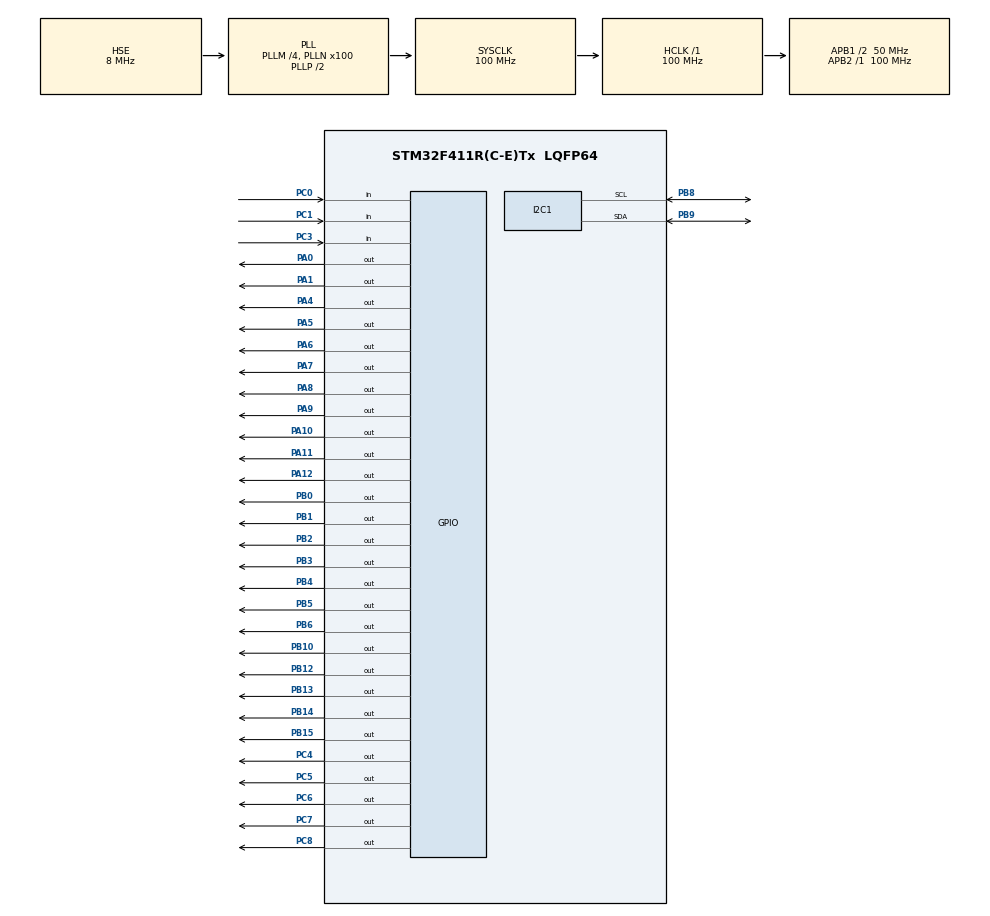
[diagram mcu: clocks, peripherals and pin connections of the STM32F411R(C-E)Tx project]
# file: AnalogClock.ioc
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Mcu.Family=STM32F4
Mcu.Name=STM32F411R(C-E)Tx
Mcu.Package=LQFP64
NVIC.PriorityGroup=NVIC_PRIORITYGROUP_4
NVIC.TIM1_BRK_TIM9_IRQn=true\:0\:0\:false\:false\:true\:true\:true\:true
NVIC.TIM3_IRQn=true\:0\:0\:false\:false\:true\:true\:true\:true
NVIC.TIM4_IRQn=true\:0\:0\:false\:false\:true\:true\:true\:true
PA0-WKUP.Signal=GPIO_Output
PA1.Signal=GPIO_Output
PA10.Signal=GPIO_Output
PA11.Signal=GPIO_Output
PA12.Signal=GPIO_Output
PA13.Mode=Serial_Wire
PA13.Signal=SYS_JTMS-SWDIO
PA14.Mode=Serial_Wire
PA14.Signal=SYS_JTCK-SWCLK
PA4.Signal=GPIO_Output
PA5.Signal=GPIO_Output
PA6.Signal=GPIO_Output
PA7.Signal=GPIO_Output
PA8.Signal=GPIO_Output
PA9.Signal=GPIO_Output
PB0.Signal=GPIO_Output
PB1.Signal=GPIO_Output
PB10.Signal=GPIO_Output
PB12.Signal=GPIO_Output
PB13.Signal=GPIO_Output
PB14.Signal=GPIO_Output
PB15.Signal=GPIO_Output
PB2.Signal=GPIO_Output
PB3.Signal=GPIO_Output
PB4.Signal=GPIO_Output
PB5.Signal=GPIO_Output
PB6.Signal=GPIO_Output
PB8.Mode=I2C
PB8.Signal=I2C1_SCL
PB9.Mode=I2C
PB9.Signal=I2C1_SDA
PC0.Signal=GPIO_Input
PC1.Signal=GPIO_Input
PC3.Signal=GPIO_Input
PC4.Signal=GPIO_Output
PC5.Signal=GPIO_Output
PC6.Signal=GPIO_Output
PC7.Signal=GPIO_Output
PC8.Signal=GPIO_Output
PH0\ -\ OSC_IN.Mode=HSE-External-Oscillator
PH0\ -\ OSC_IN.Signal=RCC_OSC_IN
PH1\ -\ OSC_OUT.Mode=HSE-External-Oscillator
PH1\ -\ OSC_OUT.Signal=RCC_OSC_OUT
ProjectManager.HeapSize=0x200
ProjectManager.StackSize=0x400
ProjectManager.TargetToolchain=STM32CubeIDE
RCC.48MHZClocksFreq_Value=50000000
RCC.AHBFreq_Value=100000000
RCC.APB1CLKDivider=RCC_HCLK_DIV2
RCC.APB1Freq_Value=50000000
RCC.APB1TimFreq_Value=100000000
RCC.APB2Freq_Value=100000000
RCC.APB2TimFreq_Value=100000000
RCC.CortexFreq_Value=100000000
RCC.HCLKFreq_Value=100000000
RCC.HSE_VALUE=8000000
RCC.HSI_VALUE=16000000
RCC.LSE_VALUE=32768
RCC.PLLM=4
RCC.PLLN=100
RCC.PLLSourceVirtual=RCC_PLLSOURCE_HSE
RCC.SYSCLKFreq_VALUE=100000000
RCC.SYSCLKSource=RCC_SYSCLKSOURCE_PLLCLK
RCC.VCOOutputFreq_Value=200000000
TIM4.Period=1000 - 1
TIM4.Prescaler=1000 - 1
TIM9.AutoReloadPreload=TIM_AUTORELOAD_PRELOAD_ENABLE
TIM9.Period=1000-1
TIM9.Prescaler=100-1
VP_TIM3_VS_ClockSourceINT.Mode=Internal
VP_TIM4_VS_ClockSourceINT.Mode=Internal
VP_TIM9_VS_ClockSourceINT.Mode=Internal
board=custom

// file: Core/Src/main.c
/* USER CODE BEGIN Header */
/**
 ******************************************************************************
 * @file           : main.c
 * @brief          : Main program body
 ******************************************************************************
 * @attention
 *
 * Copyright (c) 2026 STMicroelectronics.
 * All rights reserved.
 *
 * This software is licensed under terms that can be found in the LICENSE file
 * in the root directory of this software component.
 * If no LICENSE file comes with this software, it is provided AS-IS.
 *
 ******************************************************************************
 */
/* USER CODE END Header */
#include "main.h"

/* USER CODE BEGIN Includes */
#include "ap/ap_main.h"
#include "ap/ClockNeedle/ClockNeedle.h"
#include "ap/Display/Display.h"
#include "ap/StopWatch/StopWatch.h"
#include "ap/TimeClock/TimeClock.h"
#include "driver/stepMotor/stepMotor.h"
/* USER CODE END Includes */

I2C_HandleTypeDef hi2c1;

TIM_HandleTypeDef htim3;
TIM_HandleTypeDef htim4;
TIM_HandleTypeDef htim9;

void SystemClock_Config(void);
static void MX_GPIO_Init(void);
static void MX_TIM9_Init(void);
static void MX_TIM3_Init(void);
static void MX_TIM4_Init(void);
static void MX_I2C1_Init(void);

/* USER CODE BEGIN 0 */
void HAL_TIM_PeriodElapsedCallback(TIM_HandleTypeDef *htim)
{
	if (htim->Instance == TIM9)
	{
		ClockNeedle_ISR();
	}
	else if (htim->Instance == TIM3) {
		//fnd_show_number();
		Disp_ISR();
	}
	else if (htim->Instance == TIM4) {
		TimeClock_ISR();
		StopWatch_ISR();
	}
}
/* USER CODE END 0 */

int main(void)
{

  /* MCU Configuration--------------------------------------------------------*/

  /* Reset of all peripherals, Initializes the Flash interface and the Systick. */
  HAL_Init();

  /* Configure the system clock */
  SystemClock_Config();

  /* Initialize all configured peripherals */
  MX_GPIO_Init();
  MX_TIM9_Init();
  MX_TIM3_Init();
  MX_TIM4_Init();
  MX_I2C1_Init();
  /* USER CODE BEGIN 2 */
  ap_init();
  StepMotor_task();
  /* USER CODE END 2 */

  /* Infinite loop */
  /* USER CODE BEGIN WHILE */
  while (1) {

    ap_main();
  }
    /* USER CODE END WHILE */

}

void SystemClock_Config(void)
{
  RCC_OscInitTypeDef RCC_OscInitStruct = {0};
  RCC_ClkInitTypeDef RCC_ClkInitStruct = {0};

  /** Configure the main internal regulator output voltage
  */
  __HAL_RCC_PWR_CLK_ENABLE();
  __HAL_PWR_VOLTAGESCALING_CONFIG(PWR_REGULATOR_VOLTAGE_SCALE1);

  /** Initializes the RCC Oscillators according to the specified parameters
  * in the RCC_OscInitTypeDef structure.
  */
  RCC_OscInitStruct.OscillatorType = RCC_OSCILLATORTYPE_HSE;
  RCC_OscInitStruct.HSEState = RCC_HSE_ON;
  RCC_OscInitStruct.PLL.PLLState = RCC_PLL_ON;
  RCC_OscInitStruct.PLL.PLLSource = RCC_PLLSOURCE_HSE;
  RCC_OscInitStruct.PLL.PLLM = 4;
  RCC_OscInitStruct.PLL.PLLN = 100;
  RCC_OscInitStruct.PLL.PLLP = RCC_PLLP_DIV2;
  RCC_OscInitStruct.PLL.PLLQ = 4;
  if (HAL_RCC_OscConfig(&RCC_OscInitStruct) != HAL_OK)
  {
    Error_Handler();
  }

  /** Initializes the CPU, AHB and APB buses clocks
  */
  RCC_ClkInitStruct.ClockType = RCC_CLOCKTYPE_HCLK|RCC_CLOCKTYPE_SYSCLK
                              |RCC_CLOCKTYPE_PCLK1|RCC_CLOCKTYPE_PCLK2;
  RCC_ClkInitStruct.SYSCLKSource = RCC_SYSCLKSOURCE_PLLCLK;
  RCC_ClkInitStruct.AHBCLKDivider = RCC_SYSCLK_DIV1;
  RCC_ClkInitStruct.APB1CLKDivider = RCC_HCLK_DIV2;
  RCC_ClkInitStruct.APB2CLKDivider = RCC_HCLK_DIV1;

  if (HAL_RCC_ClockConfig(&RCC_ClkInitStruct, FLASH_LATENCY_3) != HAL_OK)
  {
    Error_Handler();
  }
}

static void MX_I2C1_Init(void)
{

  hi2c1.Instance = I2C1;
  hi2c1.Init.ClockSpeed = 100000;
  hi2c1.Init.DutyCycle = I2C_DUTYCYCLE_2;
  hi2c1.Init.OwnAddress1 = 0;
  hi2c1.Init.AddressingMode = I2C_ADDRESSINGMODE_7BIT;
  hi2c1.Init.DualAddressMode = I2C_DUALADDRESS_DISABLE;
  hi2c1.Init.OwnAddress2 = 0;
  hi2c1.Init.GeneralCallMode = I2C_GENERALCALL_DISABLE;
  hi2c1.Init.NoStretchMode = I2C_NOSTRETCH_DISABLE;
  if (HAL_I2C_Init(&hi2c1) != HAL_OK)
  {
    Error_Handler();
  }

}

static void MX_TIM3_Init(void)
{

  TIM_ClockConfigTypeDef sClockSourceConfig = {0};
  TIM_MasterConfigTypeDef sMasterConfig = {0};

  htim3.Instance = TIM3;
  htim3.Init.Prescaler = 0;
  htim3.Init.CounterMode = TIM_COUNTERMODE_UP;
  htim3.Init.Period = 65535;
  htim3.Init.ClockDivision = TIM_CLOCKDIVISION_DIV1;
  htim3.Init.AutoReloadPreload = TIM_AUTORELOAD_PRELOAD_DISABLE;
  if (HAL_TIM_Base_Init(&htim3) != HAL_OK)
  {
    Error_Handler();
  }
  sClockSourceConfig.ClockSource = TIM_CLOCKSOURCE_INTERNAL;
  if (HAL_TIM_ConfigClockSource(&htim3, &sClockSourceConfig) != HAL_OK)
  {
    Error_Handler();
  }
  sMasterConfig.MasterOutputTrigger = TIM_TRGO_RESET;
  sMasterConfig.MasterSlaveMode = TIM_MASTERSLAVEMODE_DISABLE;
  if (HAL_TIMEx_MasterConfigSynchronization(&htim3, &sMasterConfig) != HAL_OK)
  {
    Error_Handler();
  }

}

static void MX_TIM4_Init(void)
{

  TIM_ClockConfigTypeDef sClockSourceConfig = {0};
  TIM_MasterConfigTypeDef sMasterConfig = {0};

  htim4.Instance = TIM4;
  htim4.Init.Prescaler = 1000 - 1;
  htim4.Init.CounterMode = TIM_COUNTERMODE_UP;
  htim4.Init.Period = 1000 - 1;
  htim4.Init.ClockDivision = TIM_CLOCKDIVISION_DIV1;
  htim4.Init.AutoReloadPreload = TIM_AUTORELOAD_PRELOAD_DISABLE;
  if (HAL_TIM_Base_Init(&htim4) != HAL_OK)
  {
    Error_Handler();
  }
  sClockSourceConfig.ClockSource = TIM_CLOCKSOURCE_INTERNAL;
  if (HAL_TIM_ConfigClockSource(&htim4, &sClockSourceConfig) != HAL_OK)
  {
    Error_Handler();
  }
  sMasterConfig.MasterOutputTrigger = TIM_TRGO_RESET;
  sMasterConfig.MasterSlaveMode = TIM_MASTERSLAVEMODE_DISABLE;
  if (HAL_TIMEx_MasterConfigSynchronization(&htim4, &sMasterConfig) != HAL_OK)
  {
    Error_Handler();
  }

}

static void MX_TIM9_Init(void)
{

  TIM_ClockConfigTypeDef sClockSourceConfig = {0};

  htim9.Instance = TIM9;
  htim9.Init.Prescaler = 100-1;
  htim9.Init.CounterMode = TIM_COUNTERMODE_UP;
  htim9.Init.Period = 1000-1;
  htim9.Init.ClockDivision = TIM_CLOCKDIVISION_DIV1;
  htim9.Init.AutoReloadPreload = TIM_AUTORELOAD_PRELOAD_ENABLE;
  if (HAL_TIM_Base_Init(&htim9) != HAL_OK)
  {
    Error_Handler();
  }
  sClockSourceConfig.ClockSource = TIM_CLOCKSOURCE_INTERNAL;
  if (HAL_TIM_ConfigClockSource(&htim9, &sClockSourceConfig) != HAL_OK)
  {
    Error_Handler();
  }

}

static void MX_GPIO_Init(void)
{
  GPIO_InitTypeDef GPIO_InitStruct = {0};

  /* GPIO Ports Clock Enable */
  __HAL_RCC_GPIOH_CLK_ENABLE();
  __HAL_RCC_GPIOC_CLK_ENABLE();
  __HAL_RCC_GPIOA_CLK_ENABLE();
  __HAL_RCC_GPIOB_CLK_ENABLE();

  /*Configure GPIO pin Output Level */
  HAL_GPIO_WritePin(GPIOA, GPIO_PIN_0|GPIO_PIN_1|GPIO_PIN_4|GPIO_PIN_5
                          |GPIO_PIN_6|GPIO_PIN_7|GPIO_PIN_8|GPIO_PIN_9
                          |GPIO_PIN_10|GPIO_PIN_11|GPIO_PIN_12, GPIO_PIN_RESET);

  /*Configure GPIO pin Output Level */
  HAL_GPIO_WritePin(GPIOC, GPIO_PIN_4|GPIO_PIN_5|GPIO_PIN_6|GPIO_PIN_7
                          |GPIO_PIN_8, GPIO_PIN_RESET);

  /*Configure GPIO pin Output Level */
  HAL_GPIO_WritePin(GPIOB, GPIO_PIN_0|GPIO_PIN_1|GPIO_PIN_2|GPIO_PIN_10
                          |GPIO_PIN_12|GPIO_PIN_13|GPIO_PIN_14|GPIO_PIN_15
                          |GPIO_PIN_3|GPIO_PIN_4|GPIO_PIN_5|GPIO_PIN_6, GPIO_PIN_RESET);

  /*Configure GPIO pins : PC0 PC1 PC3 */
  GPIO_InitStruct.Pin = GPIO_PIN_0|GPIO_PIN_1|GPIO_PIN_3;
  GPIO_InitStruct.Mode = GPIO_MODE_INPUT;
  GPIO_InitStruct.Pull = GPIO_NOPULL;
  HAL_GPIO_Init(GPIOC, &GPIO_InitStruct);

  /*Configure GPIO pins : PA0 PA1 PA4 PA5
                           PA6 PA7 PA8 PA9
                           PA10 PA11 PA12 */
  GPIO_InitStruct.Pin = GPIO_PIN_0|GPIO_PIN_1|GPIO_PIN_4|GPIO_PIN_5
                          |GPIO_PIN_6|GPIO_PIN_7|GPIO_PIN_8|GPIO_PIN_9
                          |GPIO_PIN_10|GPIO_PIN_11|GPIO_PIN_12;
  GPIO_InitStruct.Mode = GPIO_MODE_OUTPUT_PP;
  GPIO_InitStruct.Pull = GPIO_NOPULL;
  GPIO_InitStruct.Speed = GPIO_SPEED_FREQ_LOW;
  HAL_GPIO_Init(GPIOA, &GPIO_InitStruct);

  /*Configure GPIO pins : PC4 PC5 PC6 PC7
                           PC8 */
  GPIO_InitStruct.Pin = GPIO_PIN_4|GPIO_PIN_5|GPIO_PIN_6|GPIO_PIN_7
                          |GPIO_PIN_8;
  GPIO_InitStruct.Mode = GPIO_MODE_OUTPUT_PP;
  GPIO_InitStruct.Pull = GPIO_NOPULL;
  GPIO_InitStruct.Speed = GPIO_SPEED_FREQ_LOW;
  HAL_GPIO_Init(GPIOC, &GPIO_InitStruct);

  /*Configure GPIO pins : PB0 PB1 PB2 PB10
                           PB12 PB13 PB14 PB15
                           PB3 PB4 PB5 PB6 */
  GPIO_InitStruct.Pin = GPIO_PIN_0|GPIO_PIN_1|GPIO_PIN_2|GPIO_PIN_10
                          |GPIO_PIN_12|GPIO_PIN_13|GPIO_PIN_14|GPIO_PIN_15
                          |GPIO_PIN_3|GPIO_PIN_4|GPIO_PIN_5|GPIO_PIN_6;
  GPIO_InitStruct.Mode = GPIO_MODE_OUTPUT_PP;
  GPIO_InitStruct.Pull = GPIO_NOPULL;
  GPIO_InitStruct.Speed = GPIO_SPEED_FREQ_LOW;
  HAL_GPIO_Init(GPIOB, &GPIO_InitStruct);

}

void Error_Handler(void)
{
	__disable_irq();
	while (1)
	{
	}
}
